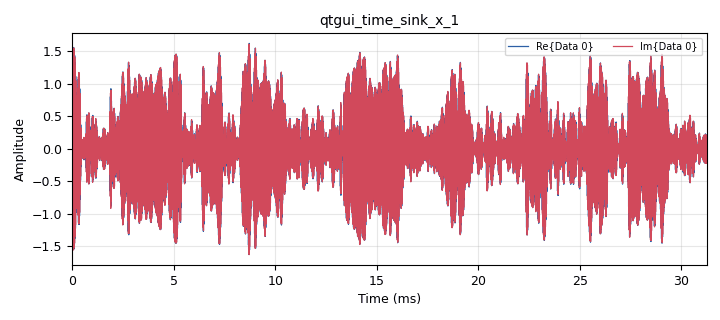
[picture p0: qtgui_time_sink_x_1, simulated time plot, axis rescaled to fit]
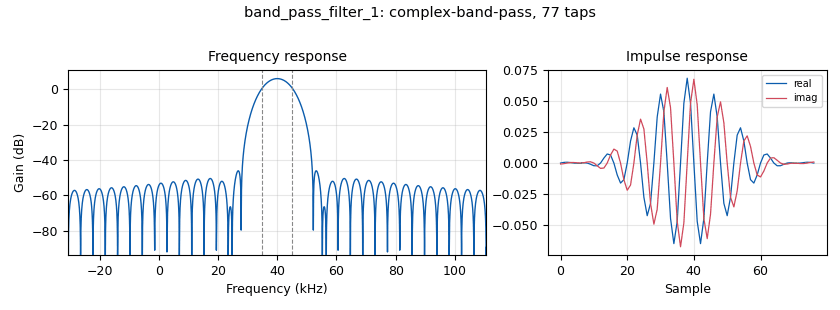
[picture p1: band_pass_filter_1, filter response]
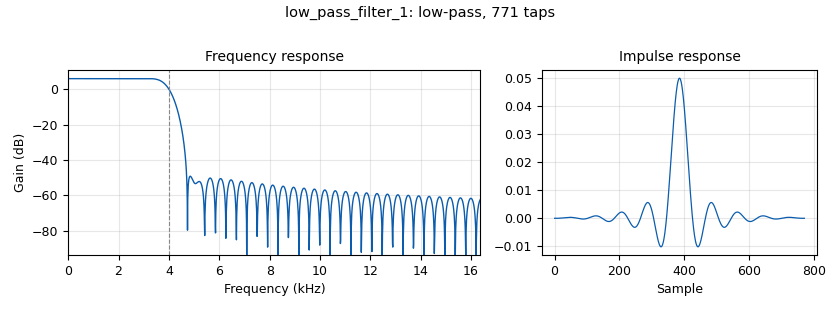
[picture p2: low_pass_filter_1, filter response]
options:
  parameters:
    author: parallels
    generate_options: qt_gui
    id: BFSK_tx_rx
    max_nouts: '1000'
    output_language: python
    title: BFSK TX RX
  states: {}

blocks:
- name: center_freq
  id: variable
  parameters:
    value: 40e3
  states: {}
- name: delay
  id: variable_qtgui_range
  parameters:
    label: Delay
    start: '0'
    step: '1'
    stop: '10000'
    value: '0'
  states: {}
- name: noise_level
  id: variable_qtgui_range
  parameters:
    start: '0'
    step: '1'
    stop: '10'
    value: '1'
  states: {}
- name: samp_rate
  id: variable
  parameters:
    value: 2*160000
  states: {}
- name: analog_const_source_x_1_0_0
  id: analog_const_source_x
  parameters:
    const: '1'
    type: float
  states: {}
- name: analog_const_source_x_1_1
  id: analog_const_source_x
  parameters:
    const: noise_level
    type: float
  states: {}
- name: analog_noise_source_x_0_0
  id: analog_noise_source_x
  parameters:
    amp: noise_level
    noise_type: analog.GR_GAUSSIAN
    seed: '0'
    type: float
  states: {}
- name: analog_random_source_x_0
  id: analog_random_source_x
  parameters:
    max: '2'
    min: '0'
    num_samps: '10000'
    repeat: 'False'
    type: int
  states: {}
- name: analog_sig_source_x_1
  id: analog_sig_source_x
  parameters:
    amp: '1'
    freq: center_freq
    offset: '0'
    phase: '0'
    samp_rate: samp_rate
    type: float
    waveform: analog.GR_COS_WAVE
  states: {}
- name: band_pass_filter_1
  id: band_pass_filter
  parameters:
    decim: '1'
    gain: '2'
    high_cutoff_freq: '45000'
    low_cutoff_freq: '35000'
    samp_rate: samp_rate
    type: fir_filter_fcc
    width: '10000'
    win: window.WIN_HAMMING
  states: {}
- name: blocks_add_xx_0_0
  id: blocks_add_xx
  parameters:
    type: float
  states: {}
- name: blocks_complex_to_mag_squared_0
  id: blocks_complex_to_mag_squared
  parameters: {}
  states: {}
- name: blocks_delay_0
  id: blocks_delay
  parameters:
    delay: 443+63
    type: float
  states: {}
- name: blocks_divide_xx_0_0
  id: blocks_divide_xx
  parameters:
    type: float
  states: {}
- name: blocks_file_sink_0
  id: blocks_file_sink
  parameters:
    file: /home/parallels/Documents/GRC/FE_SDR/fesdr-examples-vol3/ch5/BER-test-data.dat
    type: float
  states: {}
- name: blocks_float_to_int_0
  id: blocks_float_to_int
  parameters:
    scale: '1'
  states: {}
- name: blocks_float_to_int_0_0
  id: blocks_float_to_int
  parameters:
    scale: '1'
  states: {}
- name: blocks_int_to_float_0
  id: blocks_int_to_float
  parameters:
    scale: '1'
  states: {}
- name: blocks_int_to_float_1
  id: blocks_int_to_float
  parameters:
    scale: '1'
  states: {}
- name: blocks_keep_one_in_n_0_0
  id: blocks_keep_one_in_n
  parameters:
    n: '320'
    type: float
  states: {}
- name: blocks_keep_one_in_n_0_0_0
  id: blocks_keep_one_in_n
  parameters:
    n: '320'
    type: float
  states: {}
- name: blocks_multiply_xx_1
  id: blocks_multiply_xx
  parameters:
    type: float
  states: {}
- name: blocks_nlog10_ff_0_0
  id: blocks_nlog10_ff
  parameters:
    k: '0'
    n: '20'
  states: {}
- name: blocks_repeat_0
  id: blocks_repeat
  parameters:
    interp: '320'
    type: int
  states: {}
- name: blocks_threshold_ff_3
  id: blocks_threshold_ff
  parameters:
    high: '0.8'
    init: '0'
    low: '0.2'
  states: {}
- name: blocks_throttle_0
  id: blocks_throttle
  parameters:
    samples_per_second: samp_rate
    type: complex
  states: {}
- name: blocks_xor_xx_1
  id: blocks_xor_xx
  parameters:
    type: int
  states: {}
- name: low_pass_filter_1
  id: low_pass_filter
  parameters:
    cutoff_freq: '4000'
    gain: '2'
    interp: '1'
    samp_rate: samp_rate
    type: interp_fir_filter_fff
    width: '1000'
    win: window.WIN_HAMMING
  states: {}
- name: mp_channel_complex_0
  id: mp_channel_complex
  parameters:
    air_gain: '0'
    air_velocity: '340'
    path_length: '1'
    samp_rate: samp_rate
    steel_gain: '1'
    steel_velocity: '5000'
    wood_gain: '0'
    wood_velocity: '3000'
  states: {}
- name: qtgui_number_sink_0
  id: qtgui_number_sink
  parameters:
    graph_type: qtgui.NUM_GRAPH_NONE
    name: '"SNR in dB"'
    type: float
  states: {}
- name: qtgui_time_sink_x_1
  id: qtgui_time_sink_x
  parameters:
    size: '10000'
    srate: samp_rate
    type: complex
  states: {}
- name: qtgui_time_sink_x_1_0
  id: qtgui_time_sink_x
  parameters:
    label1: Input
    label2: Demod
    name: '"Symbols (TX and RX)"'
    nconnections: '2'
    size: '20000'
    srate: samp_rate
    type: float
    ymax: '1.1'
    ymin: '-0.1'
  states: {}
- name: qtgui_time_sink_x_1_0_0
  id: qtgui_time_sink_x
  parameters:
    label1: Input
    label2: Demod
    marker2: '0'
    name: '"Data Streams"'
    nconnections: '2'
    size: '100'
    srate: samp_rate/320
    style2: '0'
    type: float
    ymax: '1.1'
    ymin: '-0.1'
  states: {}
- name: qtgui_time_sink_x_2
  id: qtgui_time_sink_x
  parameters:
    label1: Errors
    marker1: '0'
    name: '"Errors"'
    size: '100'
    srate: samp_rate/320
    style1: '0'
    type: float
    ymax: '1.1'
    ymin: '-0.1'
  states: {}
- name: virtual_sink_0
  id: virtual_sink
  parameters:
    stream_id: TX stream
  states: {}
- name: virtual_sink_1
  id: virtual_sink
  parameters:
    stream_id: TX signal
  states: {}
- name: virtual_sink_1_0
  id: virtual_sink
  parameters:
    stream_id: MP Signal
  states: {}
- name: virtual_sink_2
  id: virtual_sink
  parameters:
    stream_id: RX Symbols
  states: {}
- name: virtual_sink_3
  id: virtual_sink
  parameters:
    stream_id: TX Symbols
  states: {}
- name: virtual_sink_3_0
  id: virtual_sink
  parameters:
    stream_id: TX Signals
  states: {}
- name: virtual_sink_4
  id: virtual_sink
  parameters:
    stream_id: RX Signals
  states: {}
- name: virtual_sink_5
  id: virtual_sink
  parameters:
    stream_id: TX d-Syms
  states: {}
- name: virtual_source_0
  id: virtual_source
  parameters:
    stream_id: TX d-Syms
  states: {}
- name: virtual_source_1
  id: virtual_source
  parameters:
    stream_id: TX stream
  states: {}
- name: virtual_source_2
  id: virtual_source
  parameters:
    stream_id: MP Signal
  states: {}
- name: virtual_source_2_0
  id: virtual_source
  parameters:
    stream_id: TX signal
  states: {}
- name: virtual_source_2_0_0
  id: virtual_source
  parameters:
    stream_id: TX signal
  states: {}
- name: virtual_source_3
  id: virtual_source
  parameters:
    stream_id: TX Symbols
  states: {}
- name: virtual_source_3_0
  id: virtual_source
  parameters:
    stream_id: TX Symbols
  states: {}
- name: virtual_source_4
  id: virtual_source
  parameters:
    stream_id: RX Symbols
  states: {}
- name: virtual_source_4_0
  id: virtual_source
  parameters:
    stream_id: RX Symbols
  states: {}
- name: virtual_source_5
  id: virtual_source
  parameters:
    stream_id: TX Signals
  states: {}
- name: virtual_source_6
  id: virtual_source
  parameters:
    stream_id: RX Signals
  states: {}

connections:
- [analog_const_source_x_1_0_0, '0', blocks_divide_xx_0_0, '0']
- [analog_const_source_x_1_1, '0', blocks_divide_xx_0_0, '1']
- [analog_noise_source_x_0_0, '0', blocks_add_xx_0_0, '1']
- [analog_random_source_x_0, '0', blocks_repeat_0, '0']
- [analog_sig_source_x_1, '0', blocks_multiply_xx_1, '1']
- [band_pass_filter_1, '0', virtual_sink_1, '0']
- [blocks_add_xx_0_0, '0', band_pass_filter_1, '0']
- [blocks_complex_to_mag_squared_0, '0', low_pass_filter_1, '0']
- [blocks_delay_0, '0', blocks_keep_one_in_n_0_0, '0']
- [blocks_delay_0, '0', virtual_sink_3_0, '0']
- [blocks_divide_xx_0_0, '0', blocks_nlog10_ff_0_0, '0']
- [blocks_float_to_int_0, '0', blocks_xor_xx_1, '0']
- [blocks_float_to_int_0_0, '0', blocks_xor_xx_1, '1']
- [blocks_int_to_float_0, '0', blocks_multiply_xx_1, '0']
- [blocks_int_to_float_0, '0', virtual_sink_0, '0']
- [blocks_int_to_float_1, '0', blocks_file_sink_0, '0']
- [blocks_int_to_float_1, '0', qtgui_time_sink_x_2, '0']
- [blocks_keep_one_in_n_0_0, '0', virtual_sink_3, '0']
- [blocks_keep_one_in_n_0_0_0, '0', virtual_sink_2, '0']
- [blocks_multiply_xx_1, '0', blocks_add_xx_0_0, '0']
- [blocks_nlog10_ff_0_0, '0', qtgui_number_sink_0, '0']
- [blocks_repeat_0, '0', virtual_sink_5, '0']
- [blocks_threshold_ff_3, '0', blocks_keep_one_in_n_0_0_0, '0']
- [blocks_threshold_ff_3, '0', virtual_sink_4, '0']
- [blocks_throttle_0, '0', qtgui_time_sink_x_1, '0']
- [blocks_xor_xx_1, '0', blocks_int_to_float_1, '0']
- [low_pass_filter_1, '0', blocks_threshold_ff_3, '0']
- [mp_channel_complex_0, '0', virtual_sink_1_0, '0']
- [virtual_source_0, '0', blocks_int_to_float_0, '0']
- [virtual_source_1, '0', blocks_delay_0, '0']
- [virtual_source_2, '0', blocks_complex_to_mag_squared_0, '0']
- [virtual_source_2_0, '0', blocks_throttle_0, '0']
- [virtual_source_2_0_0, '0', mp_channel_complex_0, '0']
- [virtual_source_3, '0', qtgui_time_sink_x_1_0_0, '0']
- [virtual_source_3_0, '0', blocks_float_to_int_0, '0']
- [virtual_source_4, '0', qtgui_time_sink_x_1_0_0, '1']
- [virtual_source_4_0, '0', blocks_float_to_int_0_0, '0']
- [virtual_source_5, '0', qtgui_time_sink_x_1_0, '0']
- [virtual_source_6, '0', qtgui_time_sink_x_1_0, '1']

metadata:
  file_format: 1
